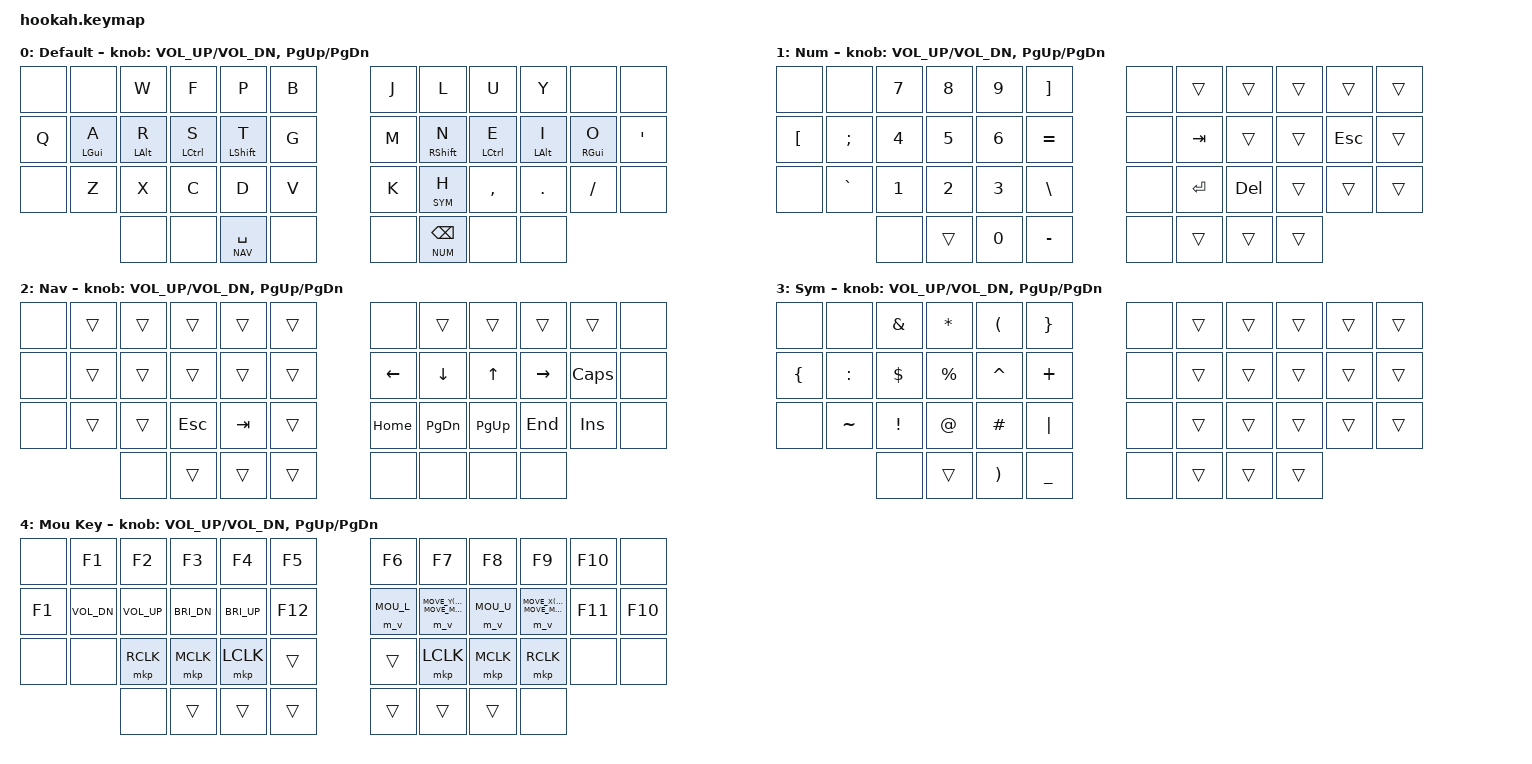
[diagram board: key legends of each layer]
/*
 * Copyright (c) 2020 The ZMK Contributors
 *
 * SPDX-License-Identifier: MIT
 */
#include "keypos_def/keypos_hookah.h"

#include <zephyr/dt-bindings/input/input-event-codes.h>

#include <behaviors.dtsi>
#include <behaviors/studio_unlock.dtsi>
#include <behaviors/mouse_keys.dtsi>
#include <behaviors/mouse_key_press.dtsi>
#include <dt-bindings/zmk/keys.h>
#include <dt-bindings/zmk/bt.h>
#include <dt-bindings/zmk/rgb.h>
#include <dt-bindings/zmk/ext_power.h>
#include <dt-bindings/zmk/outputs.h>
#include <dt-bindings/zmk/mouse.h>
#include <dt-bindings/zmk/input_transform.h>

// Layer aliases
#define DEF 0
#define NUM 1
#define NAV 2
#define SYM 3
#define FUN 4

#ifndef MOVE_Y
#define MOVE_Y(n) (0)
#endif
#ifndef MOVE_X
#define MOVE_X(n) (0)
#endif

#define U_MOUSE_MOVE_MAX 1700
#define MOU_U MOVE_Y(-U_MOUSE_MOVE_MAX)
#define MOU_D MOVE_Y(U_MOUSE_MOVE_MAX)
#define MOU_L MOVE_X(-U_MOUSE_MOVE_MAX)
#define MOU_R MOVE_X(U_MOUSE_MOVE_MAX)

#define U_MOUSE_SCROLL_MAX 20
#define SCL_U MOVE_Y(U_MOUSE_SCROLL_MAX)
#define SCL_D MOVE_Y(-U_MOUSE_SCROLL_MAX)
#define SCL_L MOVE_X(-U_MOUSE_SCROLL_MAX)
#define SCL_R MOVE_X(U_MOUSE_SCROLL_MAX)


#include "includes/combos.dtsi"

/ {
        xy_transf: xy_transf {
                compatible = "zmk,input-processor-transform";
                #input-processor-cells = <1>;
                type = <INPUT_EV_REL>;
                x-codes = <INPUT_REL_X>, <INPUT_REL_WHEEL>;
                y-codes = <INPUT_REL_Y>, <INPUT_REL_HWHEEL>;
        };
        xy_scaler: xy_scaler {
                compatible = "zmk,input-processor-scaler";
                #input-processor-cells = <2>;
                type = <INPUT_EV_REL>;
                codes = <INPUT_REL_X>, <INPUT_REL_Y>;
                track-remainders;
        };
        x_scaler: x_scaler {
                compatible = "zmk,input-processor-scaler";
                #input-processor-cells = <2>;
                type = <INPUT_EV_REL>;
                codes = <INPUT_REL_X>;
        };
        to_wheel: to_wheel {
                compatible = "zmk,input-processor-code-mapper";
                #input-processor-cells = <0>;
                type = <INPUT_EV_REL>;
                map = <INPUT_REL_X INPUT_REL_HWHEEL>
                    , <INPUT_REL_Y INPUT_REL_WHEEL>;
        };
        
        temp_layer: temp_layer{
               compatible = "zmk,input-processor-temp-layer";
               #input-processor-cells = <2>;
        };

        tpoint0_mmv_il {
                compatible = "zmk,input-listener";
                device = <&tpoint_split>;
                input-processors = <&xy_transf (INPUT_TRANSFORM_X_INVERT)>, <&temp_layer DEF 500>;
                precise {
                        layers = <NUM>;
                        process-next;
                        input-processors = <&xy_scaler 2 3>;
                };
                // scroll {
                //         layers = <MSC>;
                //         inherit;
                //         input-processors = <&xy_scaler 1 22>, <&x_scaler 0 1>
                //                          , <&to_wheel>;
                // };
        };

        behaviors {
                m_v: mouse_move {
                        compatible = "zmk,behavior-input-two-axis";
                        #binding-cells = <1>;
                        trigger-period-ms = <12>;
                        x-input-code = <INPUT_REL_X>;
                        y-input-code = <INPUT_REL_Y>;
                        time-to-max-speed-ms = <300>;
                        acceleration-exponent = <1>;
                };
        };

        behaviors {
                hm_l: homerow_mods_left {
                        compatible = "zmk,behavior-hold-tap"; #binding-cells = <2>;
                        tapping-term-ms = <200>; quick-tap-ms = <200>;
                        flavor = "tap-preferred"; bindings = <&kp>, <&kp>;
                };
                hm_r: homerow_mods_right {
                        compatible = "zmk,behavior-hold-tap"; #binding-cells = <2>;
                        tapping-term-ms = <200>; quick-tap-ms = <200>;
                        flavor = "tap-preferred"; bindings = <&kp>, <&kp>;
                };
                hl_l: homerow_layers_left {
                        compatible = "zmk,behavior-hold-tap"; #binding-cells = <2>;
                        tapping-term-ms = <200>; quick-tap-ms = <200>;
                        flavor = "tap-preferred"; bindings = <&mo>, <&kp>;
                };
                hl_r: homerow_layers_right {
                        compatible = "zmk,behavior-hold-tap"; #binding-cells = <2>;
                        tapping-term-ms = <200>; quick-tap-ms = <200>;
                        flavor = "tap-preferred"; bindings = <&mo>, <&kp>;
                };
        };

        tempo: key_tempo {
                compatible = "zmk,behavior-key-tempo";
                #binding-cells = <0>;
                usage-pages = <HID_USAGE_KEY HID_USAGE_CONSUMER>;
        };

        keymap {
                compatible = "zmk,keymap";
                DEF_layer {
                        display-name = "Default";
                        bindings = <
&none &none        &kp W        &kp F         &kp P         &kp B               &kp J &kp L         &kp U         &kp Y        &none        &none 
&kp Q &hm_l LGUI A &hm_l LALT R &hm_l LCTRL S &hm_l LSHFT T &kp G               &kp M &hm_r RSHFT N &hm_r LCTRL E &hm_r LALT I &hm_r RGUI O &kp SQT 
&none &kp Z        &kp X        &kp C         &kp D         &kp V               &kp K &lt SYM H         &kp COMMA     &kp DOT      &kp FSLH     &none 
                   &none &none &lt NAV  SPACE &none                             &none &lt NUM BSPC  &none &none
                        >;
                        sensor-bindings = <&inc_dec_kp C_VOL_UP C_VOL_DN &inc_dec_kp PG_UP PG_DN>;
                };
                NUM_layer {
                        display-name = "Num";
                        bindings = <
&none    &none             &kp N7            &kp N8            &kp N9            &kp RBKT          &none &trans &trans &trans &trans &trans   
&kp LBKT &kp SEMI          &kp N4            &kp N5            &kp N6            &kp EQUAL         &none &kp TAB &trans &trans &kp ESC &trans   
&none    &kp GRAVE         &kp N1            &kp N2            &kp N3            &kp BSLH          &none &kp RET &kp DEL &trans &trans &trans   
                            &none            &trans            &kp N0            &kp MINUS         &none &trans &trans &trans 
                        >;
                        sensor-bindings = <&inc_dec_kp C_VOL_UP C_VOL_DN &inc_dec_kp PG_UP PG_DN>;
                };
                NAV_layer {
                       display-name = "Nav";
                        bindings = <
&none &trans &trans &trans &trans &trans  &none    &trans    &trans    &trans    &trans &none       
&none &trans &trans &trans &trans &trans  &kp LEFT &kp DOWN  &kp UP    &kp RIGHT &kp CAPSLOCK &none
&none &trans &trans &kp ESC &kp TAB &trans  &kp HOME &kp PG_DN &kp PG_UP &kp END   &kp INS &none
              &none &trans &trans &trans  &none &none &none &none
                        >;
                        sensor-bindings = <&inc_dec_kp C_VOL_UP C_VOL_DN &inc_dec_kp PG_UP PG_DN>;
                };
                SYM_layer {
                        display-name = "Sym";
                        bindings = <
&none    &none             &kp AMPS            &kp ASTRK            &kp LPAR            &kp RBRC          &none &trans &trans &trans &trans &trans   
&kp LBRC &kp COLON          &kp DLLR            &kp PRCNT            &kp CARET            &kp PLUS         &none &trans &trans &trans &trans &trans   
&none    &kp TILDE         &kp EXCL            &kp AT            &kp HASH            &kp PIPE          &none &trans &trans &trans &trans &trans   
                            &none            &trans            &kp RPAR            &kp UNDER         &none &trans &trans &trans 
                        >;
                        sensor-bindings = <&inc_dec_kp C_VOL_UP C_VOL_DN &inc_dec_kp PG_UP PG_DN>;
                };
                
                FUN_layer {
// +------------------------------------------------------+     +------------------------------------------------------+
// |    F1    |    F2    |  (H) F3  |  _MSC:F4 |    F5    |     |    F6    |  _MSC:F7 |  (H) F8  |    F9    |   F10    |
// |   VOLD   |   VOLU   |   BRID   |   BRIU   |   F12    |     |   MLFT   |   MDWN   |    MUP   |   MRGT   |   F11    |
// |   _MSC   |   RCLK   |   MCLK   |   LCLK   |          |     |          |   LCLK   |   MCLK   |   RCLK   |  _MSC    |
//                       |   (H)    |          |          |     |          |          |    (H)   |
                        display-name = "Mou Key";
                        bindings = <
&none   &kp F1        &kp F2        &kp F3        &kp F4    &kp F5            &kp F6      &kp F7  &kp F8      &kp F9      &kp F10 &none
&kp F1  &kp C_VOL_DN  &kp C_VOL_UP  &kp C_BRI_DN  &kp C_BRI_UP  &kp F12           &m_v MOU_L  &m_v MOU_D  &m_v MOU_U  &m_v MOU_R  &kp F11 &kp F10
&none   &none       &mkp RCLK     &mkp MCLK     &mkp LCLK     &trans            &trans      &mkp LCLK   &mkp MCLK   &mkp RCLK   &none &none
                         &none &trans        &trans        &trans            &trans      &trans      &trans &none
                        >;
                        sensor-bindings = <&inc_dec_kp C_VOL_UP C_VOL_DN &inc_dec_kp PG_UP PG_DN>;
                };
       };
};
